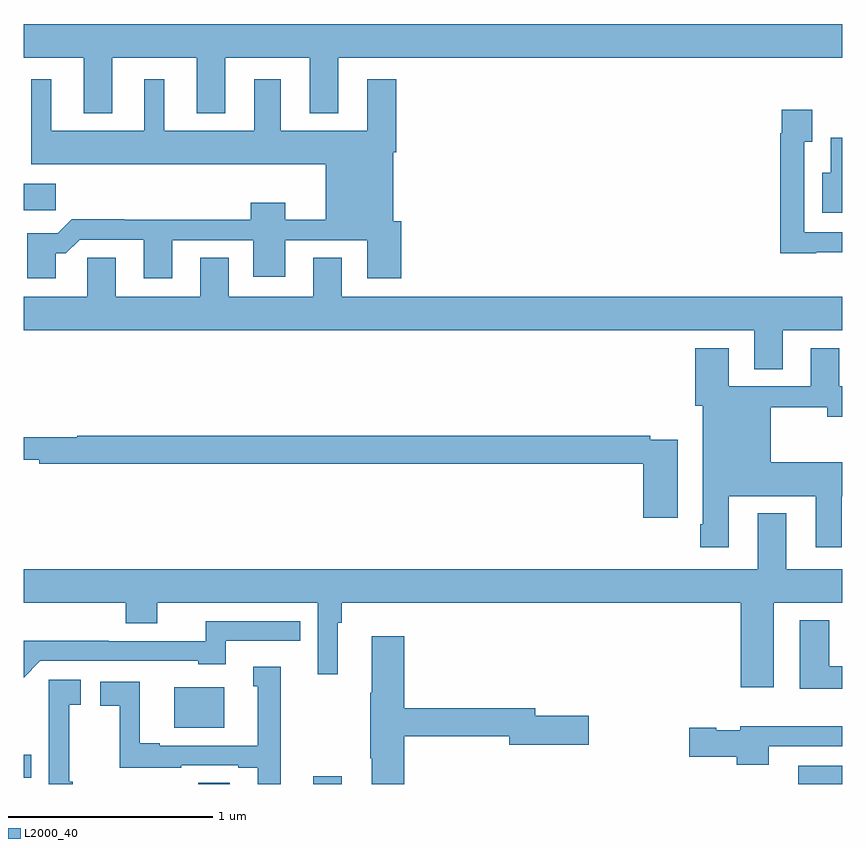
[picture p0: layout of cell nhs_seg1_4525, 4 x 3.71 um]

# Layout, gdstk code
import gdstk
lib = gdstk.Library(unit=1e-6, precision=1e-09)
def R(c, l, rs):  # rectangles x0, y0, x1, y1
    for r in rs: c.add(gdstk.rectangle(r[:2], r[2:], *l))
def P(c, l, *ps):  # polygons
    for p in ps: c.add(gdstk.Polygon(p, *l))
L2000_40 = (2000, 40)

nhs_seg1_4525 = lib.new_cell('nhs_seg1_4525')
R(nhs_seg1_4525, L2000_40, [(357.854,532.199,358.006,532.205), (358.415,532.199,358.555,532.237), (360.785,532.199,361,532.287), (357,532.23,357.038,532.343), (357.737,532.475,357.979,532.672), (357,535.003,357.157,535.132)])
P(nhs_seg1_4525, L2000_40, [(357.433,535.748),(357.845,535.748),(357.845,535.475),(357.985,535.475),(357.985,535.748),(358.397,535.748),(358.397,535.475),(358.537,535.475),(358.537,535.748),(361,535.748),(361,535.912),(357,535.912),(357,535.748),(357.293,535.748),(357.293,535.475),(357.433,535.475)],
  [(357.157,534.791),(357.206,534.791),(357.273,534.858),(357.587,534.858),(357.587,534.669),(357.727,534.669),(357.727,534.855),(358.121,534.855),(358.121,534.677),(358.279,534.677),(358.279,534.855),(358.679,534.855),(358.679,534.669),(358.844,534.669),(358.844,534.948),(358.807,534.948),(358.807,535.286),(358.82,535.286),(358.82,535.642),(358.679,535.642),(358.679,535.39),(358.255,535.39),(358.255,535.642),(358.127,535.642),(358.127,535.39),(357.688,535.39),(357.688,535.642),(357.59,535.642),(357.59,535.39),(357.136,535.39),(357.136,535.642),(357.038,535.642),(357.038,535.226),(358.475,535.226),(358.475,534.956),(358.279,534.956),(358.279,535.039),(358.109,535.039),(358.109,534.956),(357.491,534.956),(357.491,534.959),(357.236,534.959),(357.166,534.889),(357.017,534.889),(357.017,534.669),(357.157,534.669)],
  [(360.873,534.798),(361,534.798),(361,534.894),(360.813,534.894),(360.813,535.336),(360.853,535.336),(360.853,535.492),(360.705,535.492),(360.705,535.379),(360.697,535.379),(360.697,534.791),(360.873,534.791)],
  [(361,535.356),(360.944,535.356),(360.944,535.186),(360.902,535.186),(360.902,534.989),(361,534.989)],
  [(360.709,534.416),(361,534.416),(361,534.58),(358.555,534.58),(358.555,534.77),(358.415,534.77),(358.415,534.58),(358.003,534.58),(358.003,534.77),(357.863,534.77),(357.863,534.58),(357.451,534.58),(357.451,534.77),(357.312,534.77),(357.312,534.58),(357,534.58),(357,534.416),(360.569,534.416),(360.569,534.226),(360.709,534.226)],
  [(360.445,533.606),(360.869,533.606),(360.869,533.355),(360.997,533.355),(360.997,533.606),(361,533.606),(361,533.77),(360.649,533.77),(360.649,534.04),(360.926,534.04),(360.926,533.993),(361,533.993),(361,534.142),(360.985,534.142),(360.985,534.328),(360.845,534.328),(360.845,534.141),(360.445,534.141),(360.445,534.328),(360.281,534.328),(360.281,534.048),(360.317,534.048),(360.317,533.467),(360.305,533.467),(360.305,533.355),(360.445,533.355)],
  [(360.196,533.88),(360.062,533.88),(360.062,533.9),(357.262,533.9),(357.262,533.893),(357,533.893),(357,533.783),(357.076,533.783),(357.076,533.764),(360.026,533.764),(360.026,533.499),(360.196,533.499)],
  [(360.664,533.084),(361,533.084),(361,533.248),(360.727,533.248),(360.727,533.521),(360.587,533.521),(360.587,533.248),(357,533.248),(357,533.084),(357.5,533.084),(357.5,532.985),(357.652,532.985),(357.652,533.084),(358.437,533.084),(358.437,532.734),(358.534,532.734),(358.534,532.988),(358.553,532.988),(358.553,533.084),(360.503,533.084),(360.503,532.671),(360.664,532.671)],
  [(361,532.774),(360.937,532.774),(360.937,532.999),(360.791,532.999),(360.791,532.664),(361,532.664)],
  [(357.081,532.8),(357.852,532.8),(357.852,532.784),(357.988,532.784),(357.988,532.899),(358.352,532.899),(358.352,532.995),(357.889,532.995),(357.889,532.896),(357.416,532.896),(357.416,532.898),(357,532.898),(357,532.719)],
  [(358.859,532.432),(359.372,532.432),(359.372,532.39),(359.761,532.39),(359.761,532.532),(359.5,532.532),(359.5,532.568),(358.859,532.568),(358.859,532.921),(358.7,532.921),(358.7,532.645),(358.693,532.645),(358.693,532.324),(358.7,532.324),(358.7,532.199),(358.859,532.199)],
  [(358.255,532.771),(358.121,532.771),(358.121,532.677),(358.145,532.677),(358.145,532.386),(357.664,532.386),(357.664,532.399),(357.568,532.399),(357.568,532.698),(357.375,532.698),(357.375,532.582),(357.469,532.582),(357.469,532.278),(357.77,532.278),(357.77,532.29),(358.049,532.29),(358.049,532.278),(358.145,532.278),(358.145,532.199),(358.255,532.199)],
  [(357.239,532.211),(357.222,532.211),(357.222,532.587),(357.28,532.587),(357.28,532.708),(357.122,532.708),(357.122,532.432),(357.123,532.432),(357.123,532.199),(357.239,532.199)],
  [(360.64,532.383),(361,532.383),(361,532.481),(360.501,532.481),(360.501,532.462),(360.383,532.462),(360.383,532.475),(360.252,532.475),(360.252,532.333),(360.485,532.333),(360.485,532.292),(360.64,532.292)])

lib.write_gds('nhs_seg1_4525.gds')
